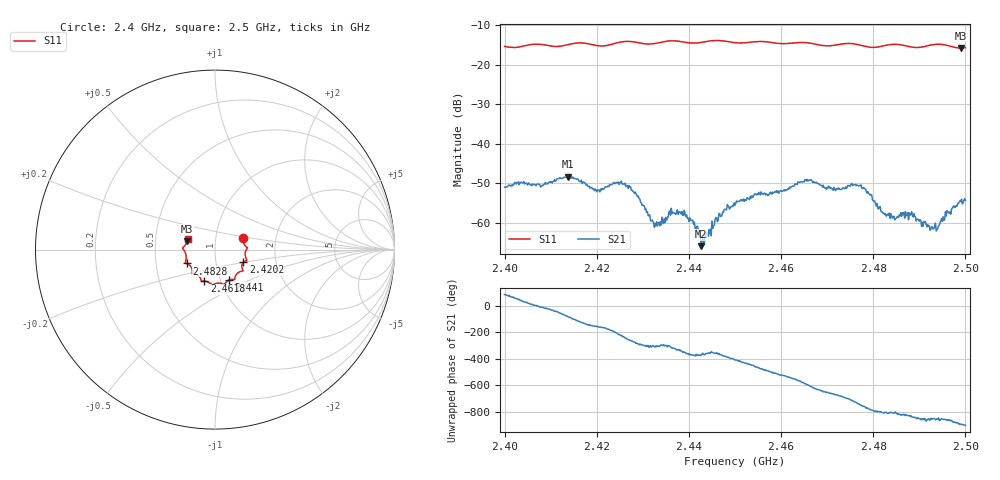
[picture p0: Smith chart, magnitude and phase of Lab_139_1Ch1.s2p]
# Hz S RI R 50
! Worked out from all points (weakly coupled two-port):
!   601 points, 2.4 GHz to 2.5 GHz, reference 50 ohm
!   highest |S21| = -48.35 dB at 2.4138 GHz (marker M1); lowest = -66.0 dB at 2.4427 GHz (marker M2)
!   lowest |S11| = -15.8 dB at 2.499 GHz (marker M3), VSWR 1.39, Z = 36.5 + j3.47 ohm
!   |S11| at or under -10 dB: start of sweep to end of sweep
!   S12 and S22 are empty: the file has one direction only
!   S11 on the Smith chart (normalised r, x): 2.4 GHz: 1.36, +0.18; 2.4202 GHz: 1.36, -0.20; 2.441 GHz: 1.10, -0.39; 2.4618 GHz: 0.84, -0.30; 2.4828 GHz: 0.72, -0.12; 2.5 GHz: 0.73, +0.09
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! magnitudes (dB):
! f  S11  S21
! 2.4 GHz  -15.4  -51.0
! 2.4138 GHz  -15.0  -48.4
! 2.4167 GHz  -14.5  -49.3
! 2.4202 GHz  -15.2  -51.7
! 2.4257 GHz  -14.2  -50.2
! 2.4322 GHz  -14.7  -59.7
! 2.4333 GHz  -14.5  -60.0
! 2.4362 GHz  -14.0  -56.4
! 2.439 GHz  -14.3  -56.9
! 2.441 GHz  -14.6  -60.4
! 2.4427 GHz  -14.4  -66.0
! 2.45 GHz  -14.5  -55.6
! 2.4618 GHz  -14.6  -51.0
! 2.4667 GHz  -14.6  -49.3
! 2.4713 GHz  -15.2  -51.8
! 2.477 GHz  -15.0  -50.6
! 2.4828 GHz  -15.1  -58.3
! 2.4833 GHz  -15.0  -58.2
! 2.4883 GHz  -15.6  -57.2
! 2.4935 GHz  -14.9  -60.1
! 2.499 GHz  -15.8  -54.7
! 2.5 GHz  -15.7  -54.4
